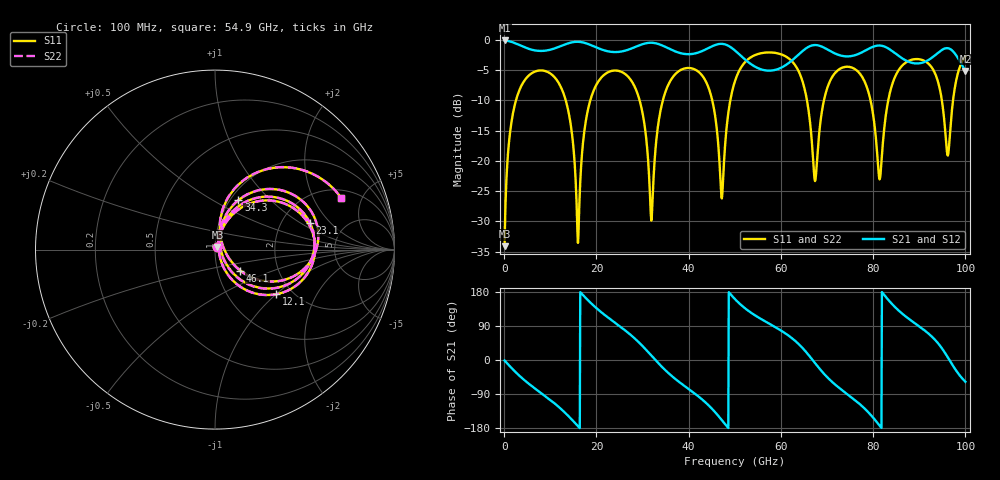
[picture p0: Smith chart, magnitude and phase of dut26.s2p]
! Touchstone file exported from HFSS 2026.1.0
!  File:  C:/ffzhzh/LocalFiles/Ansys_Project_Files/temp_train_TSV_RDL_26_1783615777_26216.aedt
!  Generated:  12:57:49 AM Jul 10, 2026
!  Design:  TSV_RDL
!  Project:  temp_train_TSV_RDL_26_1783615777_26216
! Variables:
!  h_bsmrdl = 3.64um
!  h_ox = 20um
!  h_rdl = 5um
!  h_sub = 73.65um
!  h_tmrdl = 4.72um
!  h_tsv = 73.65um
!  h_via = 3um
!  l_bsmrdl = 295.86um
!  l_sub = 3665.12um
!  l_tmrdl = 563.41um
!  m_sub = 200um
!  pitch = 59.93um
!  r_tsv = 13.9um
!  s_tmrdl = 10um
!  w_bsmrdl = 20.17um
!  w_sub = 500um
!  w_tmrdl = 21.13um
!  x_tsv_center1 = 573.975um
!  x_tsv_center2 = 890.005um
!  x_tsv_center3 = 1474.545um
!  x_tsv_center4 = 1790.575um
!  x_tsv_center5 = 2375.115um
!  x_tsv_center6 = 2691.145um
# GHz S MA R 50.000000
! Terminal data exported
! Port[1] = TM_RDL1_1_T1
! Port[2] = TM_RDL5_1_T1
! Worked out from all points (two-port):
!   1000 points, 100 MHz to 100 GHz, reference 50 ohm
!   highest |S21| = -0.12 dB at 100 MHz (marker M1); lowest = -5.2 dB at 100 GHz (marker M2)
!   |S21| within 3 dB of the highest: start of sweep to 52.01 GHz; 62.86 GHz to 86.38 GHz (23.53 GHz wide, 31.5 % of centre) (the widest 2 of 3)
!   lowest |S11| = -34.1 dB at 100 MHz (marker M3), VSWR 1.04, Z = 51.4 + j1.47 ohm
!   |S11| at or under -10 dB: 13.35 GHz to 18.68 GHz (5.336 GHz wide, 33.3 % of centre); 29.36 GHz to 34.41 GHz (5.049 GHz wide, 15.8 % of centre); 45.11 GHz to 49.04 GHz (3.924 GHz wide, 8.34 % of centre) (the widest 3 of 7)
!   |S22| runs from -34.1 to -2.1 dB; largest |S21 - S12| = 3.8e-13
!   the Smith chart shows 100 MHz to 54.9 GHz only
!   S11 on the Smith chart (normalised r, x): 100 MHz: 1.03, +0.03; 12.1 GHz: 1.65, -1.00; 23.1 GHz: 2.87, +1.21; 34.3 GHz: 1.09, +0.66; 46.1 GHz: 1.29, -0.31; 54.9 GHz: 2.45, +3.36
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0.1  0.01973 46.4  0.9866 -1.4  0.9866 -1.4  0.01973 46.4
! Gamma 0 0 0 0
! Port Impedance 50 0 50 0
3.3  0.3825 45.6  0.9041 -41.5  0.9041 -41.5  0.3825 45.6
12.1  0.421 -36.2  0.8808 -126.7  0.8808 -126.7  0.421 -36.3
15.9  0.02519 -28.1  0.9622 -173.2  0.9622 -173.2  0.02476 -29.0
16.8  0.1045 72.4  0.955 175.0  0.955 175.0  0.1044 72.6
23.1  0.5499 15.5  0.7957 106.8  0.7957 106.8  0.5499 15.5
29.1  0.3418 -38.9  0.8929 47.8  0.8929 47.8  0.3419 -39.2
31.9  0.03211 6.3  0.9447 12.0  0.9447 12.0  0.03023 5.6
33.4  0.1998 72.4  0.9233 -7.9  0.9233 -7.9  0.1993 72.9
34.3  0.3042 64.6  0.8961 -19.2  0.8961 -19.2  0.3039 64.9
40.6  0.5811 7.8  0.762 -82.0  0.762 -82.0  0.581 7.8
46.1  0.1836 -39.5  0.9137 -142.7  0.9137 -142.7  0.1833 -39.9
47.3  0.053 41.1  0.9245 -160.3  0.9245 -160.3  0.05142 41.7
50.1  0.4619 63.8  0.8115 160.0  0.8115 160.0  0.4616 64.0
54.9  0.7595 22.4  0.5857 114.0  0.5857 114.0  0.7593 22.5
66.7  0.1454 -59.4  0.8965 2.7  0.8965 2.7  0.1447 -59.8
76.1  0.5706 -14.7  0.7462 -106.2  0.7462 -106.2  0.5706 -14.8
81.4  0.07023 4.5  0.8961 -173.1  0.8961 -173.1  0.06822 4.3
83.4  0.3336 55.4  0.8418 157.1  0.8418 157.1  0.333 55.7
91.7  0.6482 -14.7  0.6706 72.8  0.6706 72.8  0.6478 -14.8
95.9  0.1304 -22.4  0.8524 12.7  0.8524 12.7  0.1288 -22.8
100  0.7294 25.2  0.5514 -57.4  0.5514 -57.4  0.7291 25.2
